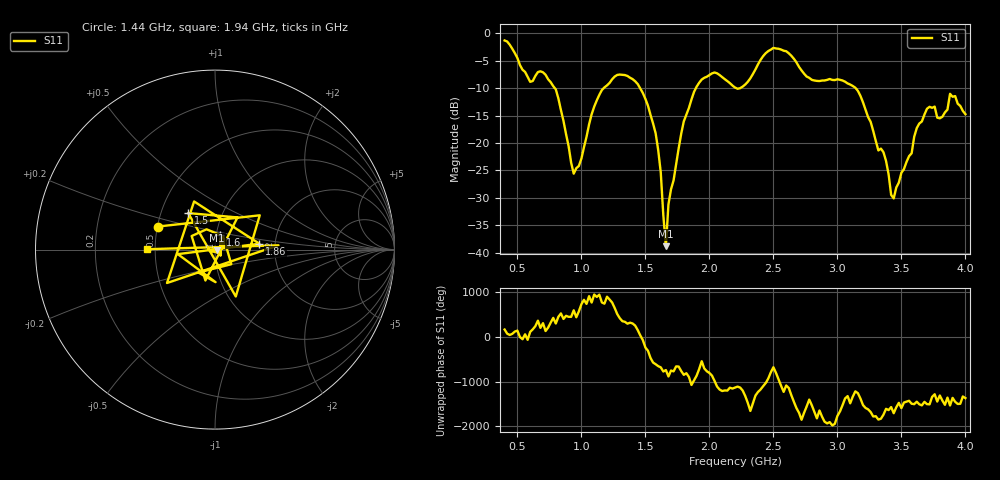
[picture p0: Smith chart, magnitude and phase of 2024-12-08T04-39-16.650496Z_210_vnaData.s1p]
!Created with skrf (http://scikit-rf.org).
# Hz S RI R 50.0
!freq ReS11 ImS11
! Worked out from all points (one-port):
!   181 points, 400 MHz to 4 GHz, reference 50 ohm
!   lowest |S11| = -38.8 dB at 1.66 GHz (marker M1), VSWR 1.02, Z = 51.1 - j0.356 ohm
!   |S11| at or under -10 dB: 792.5 MHz to 1.174 GHz (381.6 MHz wide, 38.8 % of centre); 1.459 GHz to 1.894 GHz (435.9 MHz wide, 26 % of centre); 3.143 GHz to end of sweep (the widest 3 of 4)
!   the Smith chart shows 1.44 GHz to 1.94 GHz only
!   S11 on the Smith chart (normalised r, x): 1.44 GHz: 0.50, +0.15; 1.5 GHz: 0.69, +0.30; 1.6 GHz: 1.05, +0.17; 1.86 GHz: 1.65, +0.12; 1.94 GHz: 0.45, +0.00
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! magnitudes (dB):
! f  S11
! 400 MHz  -1.3
! 600 MHz  -8.8
! 720 MHz  -7.6
! 800 MHz  -10.2
! 860 MHz  -16.0
! 940 MHz  -25.6
! 1.14 GHz  -11.2
! 1.3 GHz  -7.5
! 1.44 GHz  -9.2
! 1.5 GHz  -12.0
! 1.6 GHz  -21.3
! 1.66 GHz  -38.8
! 1.68 GHz  -31.2
! 1.76 GHz  -21.0
! 1.86 GHz  -12.1
! 1.94 GHz  -8.4
! 2.2 GHz  -9.9
! 2.5 GHz  -2.7
! 2.66 GHz  -4.6
! 2.8 GHz  -8.5
! 3.1 GHz  -9.3
! 3.36 GHz  -21.7
! 3.44 GHz  -30.1
! 3.56 GHz  -22.4
! 3.72 GHz  -13.4
! 3.82 GHz  -15.2
! 3.88 GHz  -11.0
! 4 GHz  -14.7
